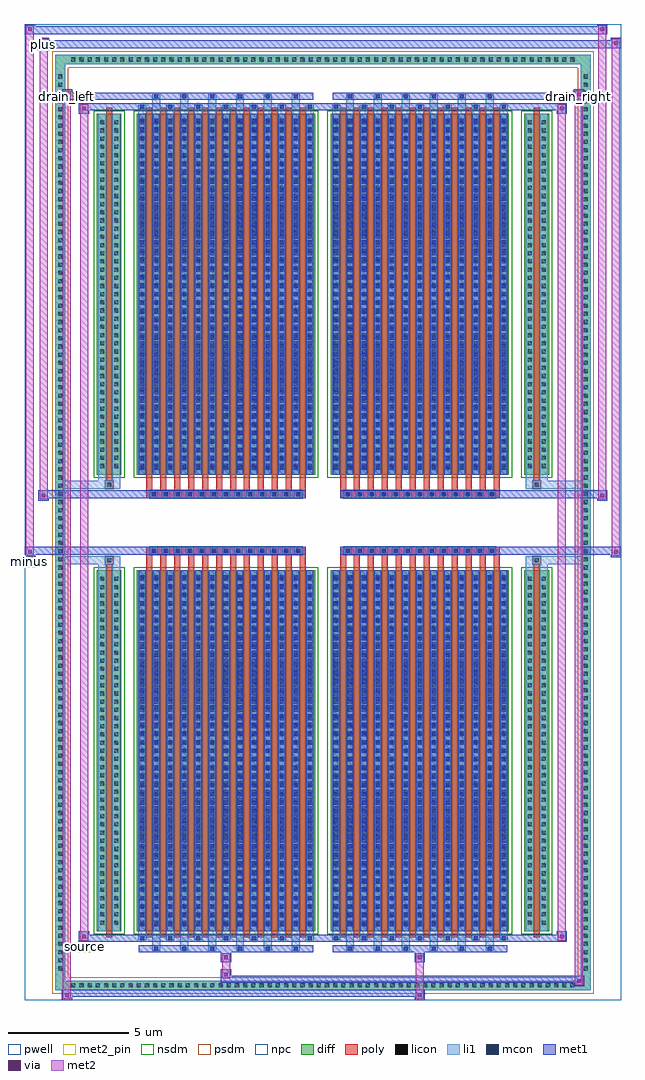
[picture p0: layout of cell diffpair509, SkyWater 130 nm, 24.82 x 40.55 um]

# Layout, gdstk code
import gdstk
lib = gdstk.Library(unit=1e-6, precision=5e-09)
def R(c, l, rs):  # rectangles x0, y0, x1, y1
    for r in rs: c.add(gdstk.rectangle(r[:2], r[2:], *l))
def A(c, l, x, y, w, h, nx, ny, dx, dy):  # array of equal rectangles
    R(c, l, [(x+i*dx, y+j*dy, x+i*dx+w, y+j*dy+h) for i in range(nx) for j in range(ny)])
def P(c, l, *ps):  # polygons
    for p in ps: c.add(gdstk.Polygon(p, *l))
pwell = (64, 44)
diff = (65, 20)
poly = (66, 20)
licon = (66, 44)
li1 = (67, 20)
mcon = (67, 44)
met1 = (68, 20)
via = (68, 44)
met2_pin = (69, 16)
met2 = (69, 20)
nsdm = (93, 44)
psdm = (94, 20)
npc = (95, 20)

diffpair509 = lib.new_cell('diffpair509')
R(diffpair509, pwell, [(-12.39,-19.84,12.39,20.71), (-9.71,-18.03,-0.01,-0.805), (0.01,-18.03,9.71,-0.805), (-9.71,0.805,-0.01,18.03), (0.01,0.805,9.71,18.03)])
A(diffpair509, diff, -10.575, -19.44, 0.41, 0.41, 62, 2, 0.34, 38.47)
A(diffpair509, diff, -11.12, -18.735, 0.41, 0.41, 1, 110, 0, 0.34)
A(diffpair509, diff, 10.71, -18.735, 0.41, 0.41, 1, 110, 0, 0.34)
R(diffpair509, diff, [(-10.575,-19.44,10.575,-19.03), (-11.12,-18.735,-10.71,18.735), (10.71,-18.735,11.12,18.735), (-9.4,-16.985,-8.37,-1.985), (-7.73,-16.985,-0.32,-1.985), (0.32,-16.985,7.73,-1.985), (8.37,-16.985,9.4,-1.985), (-9.4,1.985,-8.37,16.985), (-7.73,1.985,-0.32,16.985), (0.32,1.985,7.73,16.985), (8.37,1.985,9.4,16.985), (-10.575,19.03,10.575,19.44)])
P(diffpair509, diff, [(11.12,19.44),(-11.12,19.44),(-11.12,-19.03),(-10.71,-19.03),(-10.71,19.03),(10.71,19.03),(10.71,-19.03),(-10.71,-19.03),(-11.12,-19.03),(-11.12,-19.44),(11.12,-19.44)])
A(diffpair509, poly, -7.34, -17.235, 0.25, 15.5, 12, 2, 0.58, 18.97)
A(diffpair509, poly, 0.71, -17.235, 0.25, 15.5, 12, 2, 0.58, 18.97)
A(diffpair509, poly, -7.34, -1.735, 0.25, 0.4, 12, 2, 0.58, 3.07)
A(diffpair509, poly, 0.71, -1.735, 0.25, 0.4, 12, 2, 0.58, 3.07)
A(diffpair509, poly, -7.19, -1.335, 0.33, 0.33, 13, 2, 0.5, 2.34)
A(diffpair509, poly, 0.86, -1.335, 0.33, 0.33, 13, 2, 0.5, 2.34)
R(diffpair509, poly, [(-9.01,-17.235,-8.76,-1.735), (8.76,-17.235,9.01,-1.735), (-9.05,-1.735,-8.72,-1.405), (-9.05,-1.735,-8.72,-1.405), (8.72,-1.735,9.05,-1.405), (8.72,-1.735,9.05,-1.405), (-7.34,-1.335,-0.71,-1.005), (0.71,-1.335,7.34,-1.005), (-7.34,1.005,-0.71,1.335), (0.71,1.005,7.34,1.335), (-9.05,1.405,-8.72,1.735), (-9.05,1.405,-8.72,1.735), (8.72,1.405,9.05,1.735), (8.72,1.405,9.05,1.735), (-9.01,1.735,-8.76,17.235), (8.76,1.735,9.01,17.235)])
A(diffpair509, licon, -10.455, -19.32, 0.17, 0.17, 62, 2, 0.34, 38.47)
A(diffpair509, licon, -11, -18.615, 0.17, 0.17, 1, 110, 0, 0.34)
A(diffpair509, licon, 10.83, -18.615, 0.17, 0.17, 1, 110, 0, 0.34)
A(diffpair509, licon, -9.26, -16.71, 0.17, 0.17, 1, 43, 0, 0.34)
A(diffpair509, licon, -8.68, -16.71, 0.17, 0.17, 1, 43, 0, 0.34)
A(diffpair509, licon, -7.59, -16.71, 0.17, 0.17, 13, 43, 0.58, 0.34)
A(diffpair509, licon, 0.46, -16.71, 0.17, 0.17, 13, 43, 0.58, 0.34)
A(diffpair509, licon, 8.51, -16.71, 0.17, 0.17, 1, 43, 0, 0.34)
A(diffpair509, licon, 9.09, -16.71, 0.17, 0.17, 1, 43, 0, 0.34)
A(diffpair509, licon, -7.11, -1.255, 0.17, 0.17, 13, 2, 0.5, 2.34)
A(diffpair509, licon, 0.94, -1.255, 0.17, 0.17, 13, 2, 0.5, 2.34)
A(diffpair509, licon, -9.26, 2.26, 0.17, 0.17, 1, 43, 0, 0.34)
A(diffpair509, licon, -8.68, 2.26, 0.17, 0.17, 1, 43, 0, 0.34)
A(diffpair509, licon, -7.59, 2.26, 0.17, 0.17, 13, 43, 0.58, 0.34)
A(diffpair509, licon, 0.46, 2.26, 0.17, 0.17, 13, 43, 0.58, 0.34)
A(diffpair509, licon, 8.51, 2.26, 0.17, 0.17, 1, 43, 0, 0.34)
A(diffpair509, licon, 9.09, 2.26, 0.17, 0.17, 1, 43, 0, 0.34)
R(diffpair509, licon, [(-8.97,-1.655,-8.8,-1.485), (8.8,-1.655,8.97,-1.485), (-8.97,1.485,-8.8,1.655), (8.8,1.485,8.97,1.655)])
A(diffpair509, li1, -10.535, -19.4, 0.33, 0.33, 62, 2, 0.34, 38.47)
A(diffpair509, li1, -11.08, -18.695, 0.33, 0.33, 1, 110, 0, 0.34)
A(diffpair509, li1, 10.75, -18.695, 0.33, 0.33, 1, 110, 0, 0.34)
A(diffpair509, li1, -7.09, -17.79, 0.33, 0.805, 6, 2, 1.16, 34.775)
A(diffpair509, li1, -7.01, -17.79, 0.17, 0.17, 6, 2, 1.16, 35.41)
A(diffpair509, li1, 0.96, -17.79, 0.33, 0.805, 6, 2, 1.16, 34.775)
A(diffpair509, li1, 1.04, -17.79, 0.17, 0.17, 6, 2, 1.16, 35.41)
A(diffpair509, li1, -7.67, -17.36, 0.33, 0.375, 7, 2, 1.16, 34.345)
A(diffpair509, li1, -7.59, -17.36, 0.17, 0.17, 7, 2, 1.16, 34.55)
A(diffpair509, li1, 0.38, -17.36, 0.33, 0.375, 7, 2, 1.16, 34.345)
A(diffpair509, li1, 0.46, -17.36, 0.17, 0.17, 7, 2, 1.16, 34.55)
A(diffpair509, li1, -7.67, -16.985, 0.33, 15, 13, 2, 0.58, 18.97)
A(diffpair509, li1, 0.38, -16.985, 0.33, 15, 13, 2, 0.58, 18.97)
A(diffpair509, li1, -9.34, -16.79, 0.33, 0.33, 1, 43, 0, 0.34)
A(diffpair509, li1, -8.76, -16.79, 0.33, 0.33, 1, 43, 0, 0.34)
A(diffpair509, li1, -7.67, -16.79, 0.33, 0.33, 13, 43, 0.58, 0.34)
A(diffpair509, li1, 0.38, -16.79, 0.33, 0.33, 13, 43, 0.58, 0.34)
A(diffpair509, li1, 8.43, -16.79, 0.33, 0.33, 1, 43, 0, 0.34)
A(diffpair509, li1, 9.01, -16.79, 0.33, 0.33, 1, 43, 0, 0.34)
A(diffpair509, li1, -7.59, -16.77, 0.17, 0.17, 13, 41, 0.58, 0.36)
A(diffpair509, li1, -7.59, -16.77, 0.17, 14.57, 13, 2, 0.58, 18.97)
A(diffpair509, li1, 0.46, -16.77, 0.17, 0.17, 13, 41, 0.58, 0.36)
A(diffpair509, li1, 0.46, -16.77, 0.17, 14.57, 13, 2, 0.58, 18.97)
A(diffpair509, li1, -7.19, -1.335, 0.33, 0.33, 13, 2, 0.5, 2.34)
A(diffpair509, li1, 0.86, -1.335, 0.33, 0.33, 13, 2, 0.5, 2.34)
A(diffpair509, li1, -9.34, 2.18, 0.33, 0.33, 1, 43, 0, 0.34)
A(diffpair509, li1, -8.76, 2.18, 0.33, 0.33, 1, 43, 0, 0.34)
A(diffpair509, li1, -7.67, 2.18, 0.33, 0.33, 13, 43, 0.58, 0.34)
A(diffpair509, li1, 0.38, 2.18, 0.33, 0.33, 13, 43, 0.58, 0.34)
A(diffpair509, li1, 8.43, 2.18, 0.33, 0.33, 1, 43, 0, 0.34)
A(diffpair509, li1, 9.01, 2.18, 0.33, 0.33, 1, 43, 0, 0.34)
A(diffpair509, li1, -7.59, 2.2, 0.17, 0.17, 13, 41, 0.58, 0.36)
A(diffpair509, li1, 0.46, 2.2, 0.17, 0.17, 13, 41, 0.58, 0.36)
R(diffpair509, li1, [(-11.12,-19.44,-10.71,-19.03), (-11.12,-19.44,-10.71,-19.03), (-10.71,-19.44,10.71,-19.03), (10.71,-19.44,11.12,-19.03), (10.71,-19.44,11.12,-19.03), (-11.12,-19.03,-10.71,19.03), (10.71,-19.03,11.12,19.03), (-9.34,-16.985,-9.01,-1.985), (-8.76,-16.985,-8.43,-1.985), (8.43,-16.985,8.76,-1.985), (9.01,-16.985,9.34,-1.985), (-9.34,-1.985,-9.01,-1.405), (-8.76,-1.985,-8.43,-1.405), (8.43,-1.985,8.76,-1.405), (9.01,-1.985,9.34,-1.405), (-11.12,-1.735,-9.05,-1.405), (-9.34,-1.735,-9.05,-1.405), (-9.05,-1.735,-8.72,-1.405), (-8.72,-1.735,-8.43,-1.405), (8.43,-1.735,8.72,-1.405), (8.72,-1.735,9.05,-1.405), (8.72,-1.735,11.12,-1.405), (9.05,-1.735,9.34,-1.405), (-11.12,1.405,-9.05,1.735), (-9.34,1.405,-9.05,1.735), (-9.34,1.405,-9.01,1.985), (-9.05,1.405,-8.72,1.735), (-8.76,1.405,-8.43,1.985), (-8.72,1.405,-8.43,1.735), (8.43,1.405,8.72,1.735), (8.43,1.405,8.76,1.985), (8.72,1.405,9.05,1.735), (8.72,1.405,11.12,1.735), (9.01,1.405,9.34,1.985), (9.05,1.405,9.34,1.735), (-9.34,1.985,-9.01,16.985), (-8.76,1.985,-8.43,16.985), (8.43,1.985,8.76,16.985), (9.01,1.985,9.34,16.985), (-11.12,19.03,-10.71,19.44), (-11.12,19.03,-10.71,19.44), (-10.71,19.03,10.71,19.44), (10.71,19.03,11.12,19.44), (10.71,19.03,11.12,19.44)])
A(diffpair509, mcon, -7.01, -17.79, 0.17, 0.17, 6, 2, 1.16, 35.41)
A(diffpair509, mcon, 1.04, -17.79, 0.17, 0.17, 6, 2, 1.16, 35.41)
A(diffpair509, mcon, -7.59, -17.36, 0.17, 0.17, 7, 2, 1.16, 34.55)
A(diffpair509, mcon, 0.46, -17.36, 0.17, 0.17, 7, 2, 1.16, 34.55)
A(diffpair509, mcon, -7.59, -16.77, 0.17, 0.17, 13, 41, 0.58, 0.36)
A(diffpair509, mcon, 0.46, -16.77, 0.17, 0.17, 13, 41, 0.58, 0.36)
A(diffpair509, mcon, -7.11, -1.255, 0.17, 0.17, 13, 2, 0.5, 2.34)
A(diffpair509, mcon, 0.94, -1.255, 0.17, 0.17, 13, 2, 0.5, 2.34)
A(diffpair509, mcon, -7.59, 2.2, 0.17, 0.17, 13, 41, 0.58, 0.36)
A(diffpair509, mcon, 0.46, 2.2, 0.17, 0.17, 13, 41, 0.58, 0.36)
A(diffpair509, met1, -7.07, -17.85, 0.29, 0.29, 6, 2, 1.16, 35.41)
A(diffpair509, met1, 0.98, -17.85, 0.29, 0.29, 6, 2, 1.16, 35.41)
A(diffpair509, met1, -7.65, -17.42, 0.29, 0.29, 7, 2, 1.16, 34.55)
A(diffpair509, met1, 0.4, -17.42, 0.29, 0.29, 7, 2, 1.16, 34.55)
A(diffpair509, met1, -7.65, -16.985, 0.29, 15, 13, 2, 0.58, 18.97)
A(diffpair509, met1, 0.4, -16.985, 0.29, 15, 13, 2, 0.58, 18.97)
A(diffpair509, met1, -7.65, -16.83, 0.29, 0.29, 13, 41, 0.58, 0.36)
A(diffpair509, met1, 0.4, -16.83, 0.29, 0.29, 13, 41, 0.58, 0.36)
A(diffpair509, met1, -7.17, -1.315, 0.29, 0.29, 13, 2, 0.5, 2.34)
A(diffpair509, met1, 0.88, -1.315, 0.29, 0.29, 13, 2, 0.5, 2.34)
A(diffpair509, met1, -7.65, 2.14, 0.29, 0.29, 13, 41, 0.58, 0.36)
A(diffpair509, met1, 0.4, 2.14, 0.29, 0.29, 13, 41, 0.58, 0.36)
R(diffpair509, met1, [(-10.85,-19.84,-10.42,-19.41), (3.81,-19.84,4.24,-19.41), (-10.85,-19.7,4.24,-19.41), (10.42,-19.27,10.85,-18.84), (-4.24,-19.13,10.85,-18.84), (-4.24,-18.99,-3.81,-18.56), (-4.24,-18.28,-3.81,-17.85), (3.81,-18.28,4.24,-17.85), (-7.65,-17.85,-0.4,-17.56), (0.4,-17.85,7.65,-17.56), (-10.14,-17.42,-9.71,-16.99), (-10.14,-17.42,-7.65,-17.13), (-7.65,-17.42,-0.4,-17.13), (-0.4,-17.42,0.4,-17.13), (0.4,-17.42,7.65,-17.13), (7.65,-17.42,10.14,-17.13), (9.71,-17.42,10.14,-16.99), (-12.39,-1.435,-11.96,-1.005), (11.96,-1.435,12.39,-1.005), (-12.39,-1.335,-0.71,-1.005), (-7.34,-1.335,-0.71,-1.005), (0.71,-1.335,7.34,-1.005), (0.71,-1.335,12.39,-1.005), (-11.82,0.905,-11.39,1.335), (11.39,0.905,11.82,1.335), (-11.82,1.005,-7.34,1.335), (-7.34,1.005,-0.71,1.335), (0.71,1.005,7.34,1.335), (7.34,1.005,11.82,1.335), (-10.14,16.99,-9.71,17.42), (9.71,16.99,10.14,17.42), (-10.14,17.13,-7.65,17.42), (-7.65,17.13,-0.4,17.42), (-0.4,17.13,0.4,17.42), (0.4,17.13,7.65,17.42), (7.65,17.13,10.14,17.42), (-10.85,17.56,-10.42,17.99), (-10.85,17.56,-7.65,17.85), (-7.65,17.56,-0.4,17.85), (0.4,17.56,7.65,17.85), (7.65,17.56,10.85,17.85), (10.42,17.56,10.85,17.99), (-11.82,19.71,-11.39,20.14), (-11.82,19.71,-9.71,20.04), (-9.71,19.71,9.71,20.04), (9.71,19.71,12.39,20.04), (11.96,19.71,12.39,20.14), (-12.39,20.28,-11.96,20.71), (-12.39,20.28,-9.71,20.61), (-9.71,20.28,9.71,20.61), (9.71,20.28,11.82,20.61), (11.39,20.28,11.82,20.71)])
R(diffpair509, via, [(-10.71,-19.7,-10.56,-19.55), (3.95,-19.7,4.1,-19.55), (10.56,-19.13,10.71,-18.98), (-4.1,-18.85,-3.95,-18.7), (-4.1,-18.14,-3.95,-17.99), (3.95,-18.14,4.1,-17.99), (-10,-17.28,-9.85,-17.13), (9.85,-17.28,10,-17.13), (-12.25,-1.295,-12.1,-1.145), (12.1,-1.295,12.25,-1.145), (-11.68,1.045,-11.53,1.195), (11.53,1.045,11.68,1.195), (-10,17.13,-9.85,17.28), (9.85,17.13,10,17.28), (-10.71,17.7,-10.56,17.85), (10.56,17.7,10.71,17.85), (-11.68,19.85,-11.53,20), (12.1,19.85,12.25,20), (-12.25,20.42,-12.1,20.57), (11.53,20.42,11.68,20.57)])
R(diffpair509, met2_pin, [(-10.175,-17.87,-9.675,-17.37), (-12.425,-1.885,-11.925,-1.385), (-10.885,17.44,-10.385,17.94), (10.385,17.44,10.885,17.94), (-11.855,19.59,-11.355,20.09)])
R(diffpair509, met2, [(-10.8,-19.79,-10.47,-19.46), (-10.8,-19.79,-10.47,17.94), (3.86,-19.79,4.19,-19.46), (3.86,-19.46,4.19,-18.23), (10.47,-19.22,10.8,-18.89), (10.47,-19.22,10.8,17.94), (-4.19,-18.94,-3.86,-18.61), (-4.19,-18.61,-3.86,-18.23), (-4.19,-18.23,-3.86,-17.9), (3.86,-18.23,4.19,-17.9), (-10.09,-17.37,-9.76,-17.04), (-10.09,-17.37,-9.76,17.37), (9.76,-17.37,10.09,-17.04), (9.76,-17.37,10.09,17.37), (-12.34,-1.385,-12.01,-1.055), (-12.34,-1.385,-12.01,20.66), (12.01,-1.385,12.34,-1.055), (12.01,-1.385,12.34,20.09), (-11.77,0.955,-11.44,1.285), (-11.77,0.955,-11.44,20.09), (11.44,0.955,11.77,1.285), (11.44,0.955,11.77,20.66), (-10.09,17.04,-9.76,17.37), (9.76,17.04,10.09,17.37), (-10.8,17.61,-10.47,17.94), (10.47,17.61,10.8,17.94), (-11.77,19.76,-11.44,20.09), (12.01,19.76,12.34,20.09), (-12.34,20.33,-12.01,20.66), (11.44,20.33,11.77,20.66)])
P(diffpair509, met2, [(12.34,-1.385),(12.34,-1.385),(12.34,-1.055),(12.34,-1.055)],
  [(12.34,19.76),(12.34,19.76),(12.34,20.09),(12.34,20.09)],
  [(-12.01,-1.385),(-12.01,-1.385),(-12.01,-1.055),(-12.01,-1.055)],
  [(-12.01,20.33),(-12.01,20.33),(-12.01,20.66),(-12.01,20.66)],
  [(11.77,0.955),(11.77,0.955),(11.77,1.285),(11.77,1.285)],
  [(11.77,20.33),(11.77,20.33),(11.77,20.66),(11.77,20.66)],
  [(-11.44,0.955),(-11.44,0.955),(-11.44,1.285),(-11.44,1.285)],
  [(-11.44,19.76),(-11.44,19.76),(-11.44,20.09),(-11.44,20.09)],
  [(-10.47,-19.79),(-10.47,-19.79),(-10.47,-19.46),(-10.47,-19.46)],
  [(-10.47,17.61),(-10.47,17.61),(-10.47,17.94),(-10.47,17.94)],
  [(10.8,-19.22),(10.8,-19.22),(10.8,-18.89),(10.8,-18.89)],
  [(10.8,17.61),(10.8,17.61),(10.8,17.94),(10.8,17.94)],
  [(-9.76,-17.37),(-9.76,-17.37),(-9.76,-17.04),(-9.76,-17.04)],
  [(-9.76,17.04),(-9.76,17.04),(-9.76,17.37),(-9.76,17.37)],
  [(10.09,-17.37),(10.09,-17.37),(10.09,-17.04),(10.09,-17.04)],
  [(10.09,17.04),(10.09,17.04),(10.09,17.37),(10.09,17.37)])
R(diffpair509, nsdm, [(-9.53,-17.115,-8.24,-1.855), (-7.86,-17.115,-0.19,-1.855), (0.19,-17.115,7.86,-1.855), (8.24,-17.115,9.53,-1.855), (-9.53,1.855,-8.24,17.115), (-7.86,1.855,-0.19,17.115), (0.19,1.855,7.86,17.115), (8.24,1.855,9.53,17.115)])
P(diffpair509, psdm, [(11.25,19.57),(-11.25,19.57),(-11.25,-18.9),(-10.58,-18.9),(-10.58,18.9),(10.58,18.9),(10.58,-18.9),(-10.58,-18.9),(-11.25,-18.9),(-11.25,-19.57),(11.25,-19.57)])
A(diffpair509, npc, -7.21, -1.355, 0.37, 0.37, 13, 2, 0.5, 2.34)
A(diffpair509, npc, 0.84, -1.355, 0.37, 0.37, 13, 2, 0.5, 2.34)
R(diffpair509, npc, [(-9.07,-1.755,-8.7,-1.385), (8.7,-1.755,9.07,-1.385), (-7.21,-1.355,-6.34,-0.985), (-7.21,-1.355,-6.34,-0.985), (-6.71,-1.355,-5.84,-0.985), (-6.71,-1.355,-5.84,-0.985), (-6.21,-1.355,-5.34,-0.985), (-6.21,-1.355,-5.34,-0.985), (-5.71,-1.355,-4.84,-0.985), (-5.71,-1.355,-4.84,-0.985), (-5.21,-1.355,-4.34,-0.985), (-5.21,-1.355,-4.34,-0.985), (-4.71,-1.355,-3.84,-0.985), (-4.71,-1.355,-3.84,-0.985), (-4.21,-1.355,-3.34,-0.985), (-4.21,-1.355,-3.34,-0.985), (-3.71,-1.355,-2.84,-0.985), (-3.71,-1.355,-2.84,-0.985), (-3.21,-1.355,-2.34,-0.985), (-3.21,-1.355,-2.34,-0.985), (-2.71,-1.355,-1.84,-0.985), (-2.71,-1.355,-1.84,-0.985), (-2.21,-1.355,-1.34,-0.985), (-2.21,-1.355,-1.34,-0.985), (-1.71,-1.355,-0.84,-0.985), (-1.71,-1.355,-0.84,-0.985), (0.84,-1.355,1.71,-0.985), (0.84,-1.355,1.71,-0.985), (1.34,-1.355,2.21,-0.985), (1.34,-1.355,2.21,-0.985), (1.84,-1.355,2.71,-0.985), (1.84,-1.355,2.71,-0.985), (2.34,-1.355,3.21,-0.985), (2.34,-1.355,3.21,-0.985), (2.84,-1.355,3.71,-0.985), (2.84,-1.355,3.71,-0.985), (3.34,-1.355,4.21,-0.985), (3.34,-1.355,4.21,-0.985), (3.84,-1.355,4.71,-0.985), (3.84,-1.355,4.71,-0.985), (4.34,-1.355,5.21,-0.985), (4.34,-1.355,5.21,-0.985), (4.84,-1.355,5.71,-0.985), (4.84,-1.355,5.71,-0.985), (5.34,-1.355,6.21,-0.985), (5.34,-1.355,6.21,-0.985), (5.84,-1.355,6.71,-0.985), (5.84,-1.355,6.71,-0.985), (6.34,-1.355,7.21,-0.985), (6.34,-1.355,7.21,-0.985), (-7.21,0.985,-6.34,1.355), (-7.21,0.985,-6.34,1.355), (-6.71,0.985,-5.84,1.355), (-6.71,0.985,-5.84,1.355), (-6.21,0.985,-5.34,1.355), (-6.21,0.985,-5.34,1.355), (-5.71,0.985,-4.84,1.355), (-5.71,0.985,-4.84,1.355), (-5.21,0.985,-4.34,1.355), (-5.21,0.985,-4.34,1.355), (-4.71,0.985,-3.84,1.355), (-4.71,0.985,-3.84,1.355), (-4.21,0.985,-3.34,1.355), (-4.21,0.985,-3.34,1.355), (-3.71,0.985,-2.84,1.355), (-3.71,0.985,-2.84,1.355), (-3.21,0.985,-2.34,1.355), (-3.21,0.985,-2.34,1.355), (-2.71,0.985,-1.84,1.355), (-2.71,0.985,-1.84,1.355), (-2.21,0.985,-1.34,1.355), (-2.21,0.985,-1.34,1.355), (-1.71,0.985,-0.84,1.355), (-1.71,0.985,-0.84,1.355), (0.84,0.985,1.71,1.355), (0.84,0.985,1.71,1.355), (1.34,0.985,2.21,1.355), (1.34,0.985,2.21,1.355), (1.84,0.985,2.71,1.355), (1.84,0.985,2.71,1.355), (2.34,0.985,3.21,1.355), (2.34,0.985,3.21,1.355), (2.84,0.985,3.71,1.355), (2.84,0.985,3.71,1.355), (3.34,0.985,4.21,1.355), (3.34,0.985,4.21,1.355), (3.84,0.985,4.71,1.355), (3.84,0.985,4.71,1.355), (4.34,0.985,5.21,1.355), (4.34,0.985,5.21,1.355), (4.84,0.985,5.71,1.355), (4.84,0.985,5.71,1.355), (5.34,0.985,6.21,1.355), (5.34,0.985,6.21,1.355), (5.84,0.985,6.71,1.355), (5.84,0.985,6.71,1.355), (6.34,0.985,7.21,1.355), (6.34,0.985,7.21,1.355), (-9.07,1.385,-8.7,1.755), (8.7,1.385,9.07,1.755)])
diffpair509.add(gdstk.Label('minus', (-12.175,-1.635), layer=69, texttype=5))
diffpair509.add(gdstk.Label('drain_right', (10.635,17.69), layer=69, texttype=5))
diffpair509.add(gdstk.Label('drain_left', (-10.635,17.69), layer=69, texttype=5))
diffpair509.add(gdstk.Label('source', (-9.925,-17.62), layer=69, texttype=5))
diffpair509.add(gdstk.Label('plus', (-11.605,19.84), layer=69, texttype=5))

lib.write_gds('diffpair509.gds')
